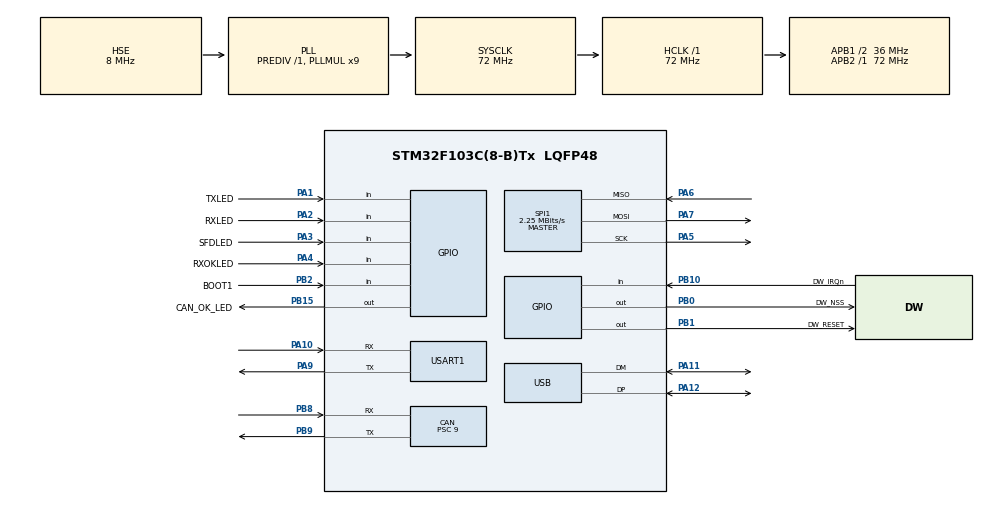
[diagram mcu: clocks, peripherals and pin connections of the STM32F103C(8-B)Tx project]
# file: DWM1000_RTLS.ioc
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CAN.BS1=CAN_BS1_2TQ
CAN.CalculateTimeBit=1000
CAN.CalculateTimeQuantum=250.0
CAN.Prescaler=9
Mcu.Family=STM32F1
Mcu.Name=STM32F103C(8-B)Tx
Mcu.Package=LQFP48
NVIC.PriorityGroup=NVIC_PRIORITYGROUP_4
PA1.GPIO_Label=TXLED
PA1.Signal=GPIO_Input
PA10.Mode=Asynchronous
PA10.Signal=USART1_RX
PA11.Mode=Device
PA11.Signal=USB_DM
PA12.Mode=Device
PA12.Signal=USB_DP
PA13.Mode=Serial_Wire
PA13.Signal=SYS_JTMS-SWDIO
PA14.Mode=Serial_Wire
PA14.Signal=SYS_JTCK-SWCLK
PA2.GPIO_Label=RXLED
PA2.Signal=GPIO_Input
PA3.GPIO_Label=SFDLED
PA3.Signal=GPIO_Input
PA4.GPIO_Label=RXOKLED
PA4.Signal=GPIO_Input
PA5.Mode=Full_Duplex_Master
PA5.Signal=SPI1_SCK
PA6.Mode=Full_Duplex_Master
PA6.Signal=SPI1_MISO
PA7.Mode=Full_Duplex_Master
PA7.Signal=SPI1_MOSI
PA9.Mode=Asynchronous
PA9.Signal=USART1_TX
PB0.GPIO_Label=DW_NSS
PB0.PinState=GPIO_PIN_SET
PB0.Signal=GPIO_Output
PB1.GPIO_Label=DW_RESET
PB1.GPIO_ModeDefaultOutputPP=GPIO_MODE_OUTPUT_OD
PB1.Signal=GPIO_Output
PB10.GPIO_Label=DW_IRQn
PB10.Signal=GPIO_Input
PB15.GPIO_Label=CAN_OK_LED
PB15.Signal=GPIO_Output
PB2.GPIO_Label=BOOT1
PB2.Signal=GPIO_Input
PB8.Mode=Master
PB8.Signal=CAN_RX
PB9.Mode=Master
PB9.Signal=CAN_TX
PC14-OSC32_IN.Mode=LSE-External-Oscillator
PC14-OSC32_IN.Signal=RCC_OSC32_IN
PC15-OSC32_OUT.Mode=LSE-External-Oscillator
PC15-OSC32_OUT.Signal=RCC_OSC32_OUT
PD0-OSC_IN.Mode=HSE-External-Oscillator
PD0-OSC_IN.Signal=RCC_OSC_IN
PD1-OSC_OUT.Mode=HSE-External-Oscillator
PD1-OSC_OUT.Signal=RCC_OSC_OUT
ProjectManager.HeapSize=0x200
ProjectManager.StackSize=0x400
ProjectManager.TargetToolchain=STM32CubeIDE
RCC.AHBFreq_Value=72000000
RCC.APB1CLKDivider=RCC_HCLK_DIV2
RCC.APB1Freq_Value=36000000
RCC.APB1TimFreq_Value=72000000
RCC.APB2Freq_Value=72000000
RCC.APB2TimFreq_Value=72000000
RCC.HCLKFreq_Value=72000000
RCC.PLLMUL=RCC_PLL_MUL9
RCC.PLLSourceVirtual=RCC_PLLSOURCE_HSE
RCC.SYSCLKFreq_VALUE=72000000
RCC.SYSCLKSource=RCC_SYSCLKSOURCE_PLLCLK
RCC.USBFreq_Value=48000000
RCC.USBPrescaler=RCC_USBCLKSOURCE_PLL_DIV1_5
SPI1.BaudRatePrescaler=SPI_BAUDRATEPRESCALER_32
SPI1.CalculateBaudRate=2.25 MBits/s
SPI1.Direction=SPI_DIRECTION_2LINES
SPI1.Mode=SPI_MODE_MASTER
SPI1.VirtualType=VM_MASTER
USART1.VirtualMode=VM_ASYNC
board=custom

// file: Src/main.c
/* USER CODE BEGIN Header */
/**
  ******************************************************************************
  * @file           : main.c
  * @brief          : Main program body
  ******************************************************************************
  * @attention
  *
  * <h2><center>&copy; Copyright (c) 2019 STMicroelectronics.
  * All rights reserved.</center></h2>
  *
  * This software component is licensed by ST under BSD 3-Clause license,
  * the "License"; You may not use this file except in compliance with the
  * License. You may obtain a copy of the License at:
  *                        opensource.org/licenses/BSD-3-Clause
  *
  ******************************************************************************
  */
/* USER CODE END Header */

#include "main.h"

/* USER CODE BEGIN PD */
#define TX_BUFFER_SIZE 		1024

/* Index to access to sequence number of the blink frame in the tx_msg array. */
#define BLINK_FRAME_SN_IDX 	1

/* Inter-frame delay period, in milliseconds. */
#define TX_DELAY_MS 		1000

#define FRAME_LEN_MAX 		127

#define NUMBER_OF_ANCHORS 	3

#define DELAY_BEFORE_TX 	0

#define SAMPLES_PER_POINT 	2
/* Change to match the device you're programming */
#define XTAL_TRIM 			15

/* Change to match which device you're programming */
#define TX_ANT_DLY 			16442
#define RX_ANT_DLY 			16442

/* weights for our confidence calculation */
#define K1 					100.0
#define K2 					1.0

/* CAN ID, change to desired value if flashing for the first time */
#define SELF_CAN_ID 		0x01

#ifdef ANCHOR
/* ID of this device, change to desired value if flashing for the first time */
#define SELF_ID 			0x11
#endif

#ifdef BEACON
/* ID of this device will be the CAN bus id, because why not */
#define SELF_ID 			SELF_CAN_ID
#endif
/* USER CODE END PD */

CAN_HandleTypeDef hcan;

SPI_HandleTypeDef hspi1;

UART_HandleTypeDef huart1;

PCD_HandleTypeDef hpcd_USB_FS;

/* USER CODE BEGIN PV */
static dwt_config_t config = {
    2,               /* Channel number. */
    DWT_PRF_64M,     /* Pulse repetition frequency. */
    DWT_PLEN_128,   /* Preamble length. Used in TX only. */
    DWT_PAC8,       /* Preamble acquisition chunk size. Used in RX only. */
    9,               /* TX preamble code. Used in TX only. */
    9,               /* RX preamble code. Used in RX only. */
    0,               /* 0 to use standard SFD, 1 to use non-standard SFD. */
    DWT_BR_6M8,      /* Data rate. */
    DWT_PHRMODE_STD, /* PHY header mode. */
    (1025 + 64)    	 /* SFD timeout (preamble length + 1 + SFD length - PAC size). Used in RX only. */
};

DistanceFrame anchors[NUMBER_OF_ANCHORS];

//uint8_t tx_msg[] = {0xC5, 0, 'D', 'E', 'C', 'A', 'W', 'A', 'V', 'E', 0, 0};

int size = 0;
uint8_t uart_buf[1024] = {};
HAL_StatusTypeDef UART_status;
HAL_StatusTypeDef CAN_status;

RangingStatus 	ranging_status;
dwt_rxdiag_t 	rx_diagnostics;
double 			rx_power;
double 			fp_power;
double 			snr;
_Bool 			CAN_Rx_OK 					= 0; //
_Bool 			do_ranging 					= 0;
_Bool 			dwm1000_setup_success 		= 0;
AnchorTimeStamps anchor_stamps;
BeaconTimeStamps beacon_stamps;
uint8 			sequence_num 				= 0;
unsigned long long t_sp, t_rr, t_sf, t_rp, t_sr, t_rf;
///* Buffer to store received frame. See NOTE 1 below. */
static uint8 tx_buffer[FRAME_LEN_MAX];
static uint8 rx_buffer[FRAME_LEN_MAX];
static uint8 uCurrentTrim_val;

#ifdef ANCHOR
uint16 src_address;
uint16 src_panid;
#endif

/* USER CODE END PV */

void SystemClock_Config(void);
static void MX_GPIO_Init(void);
static void MX_CAN_Init(void);
static void MX_SPI1_Init(void);
static void MX_USART1_UART_Init(void);
static void MX_USB_PCD_Init(void);

int main(void)
{

  /* MCU Configuration--------------------------------------------------------*/

  /* Reset of all peripherals, Initializes the Flash interface and the Systick. */
  HAL_Init();

  /* Configure the system clock */
  SystemClock_Config();

  /* Initialize all configured peripherals */
  MX_GPIO_Init();
  MX_CAN_Init();
  MX_SPI1_Init();
  MX_USART1_UART_Init();
  MX_USB_PCD_Init();
  /* USER CODE BEGIN 2 */

#ifdef BEACON
    /* Enable CAN interrupt */
//    HAL_CAN_ActivateNotification(&hcan, CAN_IT_RX_FIFO0_MSG_PENDING);
    CAN_FilterTypeDef  can_filter;
    can_filter.FilterFIFOAssignment = CAN_RX_FIFO0;
    can_filter.FilterMode = CAN_FILTERMODE_IDMASK;
    can_filter.FilterScale = CAN_FILTERSCALE_32BIT;
    can_filter.FilterIdHigh = 0x0000;
    can_filter.FilterIdLow = 0x0000;
    can_filter.FilterMaskIdHigh = 0x0000;
    can_filter.FilterMaskIdLow = 0x0000;
    can_filter.FilterBank = 0;
    can_filter.FilterActivation = CAN_FILTER_ENABLE;

    HAL_CAN_ConfigFilter(&hcan, &can_filter);
    /* Start the CAN Module */
    HAL_CAN_Start(&hcan);

    /* Setup anchor ID's, our system has 3 */
    anchors[0].anchor_id = 0x11;
    anchors[1].anchor_id = 0x22;
    anchors[2].anchor_id = 0x33;

#endif

	/* Reset and initialise DW1000. See NOTE 2 below.
  	 * For initialisation, DW1000 clocks must be temporarily set to crystal speed. After initialisation SPI rate can be increased for optimum
  	 * performance. */
  	reset_DW1000(); /* Target specific drive of RSTn line into DW1000 low for a period. */
  	port_set_dw1000_slowrate();
  	if (dwt_initialise(DWT_LOADUCODE) == DWT_ERROR)
  	{

  		debug(&huart1, "INIT FAILED :(\r");
  		while (1)
  		{ };
  	}else{
  		debug(&huart1, "INIT SUCCESS!!\r");
  	}
  	port_set_dw1000_fastrate();

  	/* Configure DW1000. See NOTE 3 below. */
  	dwt_configure(&config);

    dwt_setrxantennadelay(RX_ANT_DLY);
    dwt_settxantennadelay(TX_ANT_DLY);

    /* EEPROM stuff */
    HAL_FLASH_Unlock();
    uint32_t eeprom_data;
    EE_Read(0, &eeprom_data);
    if (eeprom_data == EEPROM_FLAG){
    	// read from "EEPROM"
    	EE_Read(1, &eeprom_data);
    	self_pan_id = eeprom_data;
    	EE_Read(2, &eeprom_data);
    	self_address = eeprom_data;
    	debug(&huart1, "Read from emulated EEPROM\r");
    }else{
    	/* set parameters to the programmed value and write them to "EEPROM" */
    	self_pan_id 	= SELF_ID;
    	self_address 	= SELF_ID;
        EE_Format();
        EE_Write(0, EEPROM_FLAG);
        EE_Write(1, (uint32_t) self_pan_id);
        EE_Write(2, (uint32_t) self_address);
    	debug(&huart1, "Wrote to emulated EEPROM\r");
    }
    HAL_FLASH_Lock();

    uCurrentTrim_val= dwt_getinitxtaltrim();

    size = sprintf((char*)uart_buf, "XTAL trim:\t%d\r\nPAN ID:\t%d\r\nADDR:\t%d\r\n", uCurrentTrim_val, self_pan_id, self_address);
  	UART_status = HAL_UART_Transmit(&huart1, uart_buf, size, 500);

    /* Frame Filtering stuff */
    dwt_setpanid(self_pan_id);
    dwt_setaddress16(self_address);	// why not just have ADDRESS == PAN_ID ?

    dwt_enableframefilter(DWT_FF_DATA_EN); // permit DATA frame types
  /* USER CODE END 2 */

  /* Infinite loop */
  	while (1)
  	{

    /* USER CODE BEGIN 3 */
#ifdef BEACON
  		uint32_t can_frame_available = HAL_CAN_GetRxFifoFillLevel(&hcan, CAN_RX_FIFO0);

  		if(can_frame_available > 0){
//  			debug(&huart1, "CAN Frame received\r");
  			CAN_RxHeaderTypeDef hddr;
  			uint8_t data[8];
  			CAN_status = HAL_CAN_GetRxMessage(&hcan, CAN_RX_FIFO0, &hddr, data);

  			if(CAN_status == HAL_OK && hddr.RTR == CAN_RTR_REMOTE && hddr.StdId == SELF_CAN_ID){
  				do_ranging = 1;
  				debug(&huart1, "do_ranging = 1\r");
  			}

  		}

//  		do_ranging = 1;

  		if(do_ranging){
  			HAL_GPIO_WritePin(GPIOB, CAN_OK_LED_Pin, GPIO_PIN_SET);

  			for (int i = 0; i < NUMBER_OF_ANCHORS; i++){
  				DistanceFrame* anchor = &(anchors[i]);
  				int64_t tofs[SAMPLES_PER_POINT];
  				_Bool ranging_ok = 1;

  				// attempt to gather SAMPLES_PER_POINT many samples
  				int samples;
  				for(samples = 0; samples < SAMPLES_PER_POINT; samples++){
  					ranging_status = range_with_anchor(anchor->anchor_id, &anchor_stamps, &beacon_stamps, &sequence_num);
  					if(ranging_status != RANGING_SUCCESS){
  						ranging_ok = 0;
  						break;
  					}
  					tofs[samples] = get_tof(&anchor_stamps, &beacon_stamps);
  					HAL_Delay(10);
  				}
  				// as long as we have at least 1 sample, transmit this point
  				if(ranging_ok){
  	  				dwt_readdiagnostics(&rx_diagnostics); 	// read diagnostics of the last frame
  	  				rx_power = get_rx_power(&rx_diagnostics);
  	  				fp_power = get_fp_power(&rx_diagnostics);
  	  				snr 	 = get_fp_snr(&rx_diagnostics);
  	  				anchor->confidence = get_confidence(rx_power, fp_power, snr);

  					int64_t sum = 0;
  					for(int i = 0; i < samples; i++){
  						sum += tofs[i];
  					}
  					int tof 	= (int)(sum / samples);

  					float dist 	= 299792458.0 * (1.0*tof / (128.0*499200000.0));

  					size = sprintf((char*)uart_buf, "Anchor %x,\t", anchor->anchor_id);
  					UART_status = HAL_UART_Transmit(&huart1, uart_buf, size, 500);

  					size = sprintf((char*)uart_buf, "ToF Counts: %d\t", tof);
  					UART_status = HAL_UART_Transmit(&huart1, uart_buf, size, 500);

  					int dist_mm = (int)1000.0*dist;
  					size = sprintf((char*)uart_buf, "DISTANCE (mm): %d\t", dist_mm);
  					UART_status = HAL_UART_Transmit(&huart1, uart_buf, size, 500);

  					size = sprintf((char*)uart_buf, "Confidence: %d\r\n", anchor->confidence);
  					UART_status = HAL_UART_Transmit(&huart1, uart_buf, size, 500);

  					anchor->type = DISTANCE_FRAME_TYPE;
  					anchor->distance = dist;

  					_Bool can_success = send_CAN_update(&hcan, anchor);
  					if(can_success){
//  						debug(&huart1, "CAN Tx SUCCEEDED\r");
  					}else{
//  						debug(&huart1, "CAN Tx FAILED :(\r");
  					}

  				}else{
  					debug(&huart1, "RANGING FAILED :(\r");
  					anchor->type = DISTANCE_FRAME_TYPE;
  					anchor->distance = -1.0;
  					_Bool can_success = send_CAN_update(&hcan, anchor);
  		  			HAL_Delay(250);
  				}
  			}
  			do_ranging = 0;
  			HAL_GPIO_WritePin(GPIOB, CAN_OK_LED_Pin, GPIO_PIN_RESET);
  		}

  		/* Execute a delay between transmissions. */
//  		HAL_Delay(TX_DELAY_MS);

#endif // BEACON

#ifdef ANCHOR

  		 int rcv_len = receive_frame(rx_buffer, FRAME_LEN_MAX, 500);
  		 if(rcv_len > 0){
  			 HAL_GPIO_WritePin(GPIOB, CAN_OK_LED_Pin, GPIO_PIN_SET);
  			 switch(rx_buffer[MAC_SIZE_EXPECTED]){
  			 case POLL:{
  				 anchor_stamps.t_rp = get_rx_timestamp();

  				 src_address 	= get_src_addr(rx_buffer);
  				 src_panid 		= get_src_panid(rx_buffer);
  				 sequence_num 	= get_seq_number(rx_buffer);
  				 uint8 data_len = make_mac_header(tx_buffer, src_address, src_panid, ++sequence_num);
  				 tx_buffer[data_len++] = RESPONSE_INIT;
  				 HAL_Delay(DELAY_BEFORE_TX);
  				 transmit_frame(tx_buffer, data_len + 2, 1); // +2 to account for checksum

  				 anchor_stamps.t_sr = get_tx_timestamp();
  				 //  					 dwt_rxreset();
  				 break;}
  			 case SEND_FINAL:{
  				 anchor_stamps.t_rf = get_rx_timestamp();

  				 uint16 new_src_addr 	= get_src_addr(rx_buffer);
  				 uint16 new_src_panid 	= get_src_panid(rx_buffer);
  				 uint8 new_seq_num 		= get_seq_number(rx_buffer);
  				 if(new_src_addr == src_address && new_src_panid == src_panid){
  					 sequence_num = new_seq_num;
  					 uint8 data_len = make_mac_header(tx_buffer, src_address, src_panid, ++sequence_num);
  					 tx_buffer[data_len++] = RESPONSE_DATA;
  					 memcpy(tx_buffer+data_len, &anchor_stamps, sizeof(anchor_stamps));

  	  				 HAL_Delay(DELAY_BEFORE_TX);
  	  				 transmit_frame(tx_buffer, data_len + sizeof(anchor_stamps) + 2, 1);
  	  				 anchor_stamps.t_rp = 0;
  	  				 anchor_stamps.t_sr = 0;
  	  				 anchor_stamps.t_rf = 0;
  				 }else{
  					 debug(&huart1, "Received from unexpected source\r");
  				 }

  				 break;}
  			 default:{
  				 debug(&huart1, "Unrecognized type received\r");
  			 	 break;}
  			 }
  			 HAL_GPIO_WritePin(GPIOB, CAN_OK_LED_Pin, GPIO_PIN_RESET);
  		 }else{
  			 debug(&huart1, "Timed out\r");
  		 }

#endif // ANCHOR

  	}
  /* USER CODE END 3 */
}

void SystemClock_Config(void)
{
  RCC_OscInitTypeDef RCC_OscInitStruct = {0};
  RCC_ClkInitTypeDef RCC_ClkInitStruct = {0};
  RCC_PeriphCLKInitTypeDef PeriphClkInit = {0};

  /** Initializes the CPU, AHB and APB busses clocks
  */
  RCC_OscInitStruct.OscillatorType = RCC_OSCILLATORTYPE_HSE;
  RCC_OscInitStruct.HSEState = RCC_HSE_ON;
  RCC_OscInitStruct.HSEPredivValue = RCC_HSE_PREDIV_DIV1;
  RCC_OscInitStruct.HSIState = RCC_HSI_ON;
  RCC_OscInitStruct.PLL.PLLState = RCC_PLL_ON;
  RCC_OscInitStruct.PLL.PLLSource = RCC_PLLSOURCE_HSE;
  RCC_OscInitStruct.PLL.PLLMUL = RCC_PLL_MUL9;
  if (HAL_RCC_OscConfig(&RCC_OscInitStruct) != HAL_OK)
  {
    Error_Handler();
  }
  /** Initializes the CPU, AHB and APB busses clocks
  */
  RCC_ClkInitStruct.ClockType = RCC_CLOCKTYPE_HCLK|RCC_CLOCKTYPE_SYSCLK
                              |RCC_CLOCKTYPE_PCLK1|RCC_CLOCKTYPE_PCLK2;
  RCC_ClkInitStruct.SYSCLKSource = RCC_SYSCLKSOURCE_PLLCLK;
  RCC_ClkInitStruct.AHBCLKDivider = RCC_SYSCLK_DIV1;
  RCC_ClkInitStruct.APB1CLKDivider = RCC_HCLK_DIV2;
  RCC_ClkInitStruct.APB2CLKDivider = RCC_HCLK_DIV1;

  if (HAL_RCC_ClockConfig(&RCC_ClkInitStruct, FLASH_LATENCY_2) != HAL_OK)
  {
    Error_Handler();
  }
  PeriphClkInit.PeriphClockSelection = RCC_PERIPHCLK_USB;
  PeriphClkInit.UsbClockSelection = RCC_USBCLKSOURCE_PLL_DIV1_5;
  if (HAL_RCCEx_PeriphCLKConfig(&PeriphClkInit) != HAL_OK)
  {
    Error_Handler();
  }
}

static void MX_CAN_Init(void)
{

  hcan.Instance = CAN1;
  hcan.Init.Prescaler = 9;
  hcan.Init.Mode = CAN_MODE_NORMAL;
  hcan.Init.SyncJumpWidth = CAN_SJW_1TQ;
  hcan.Init.TimeSeg1 = CAN_BS1_2TQ;
  hcan.Init.TimeSeg2 = CAN_BS2_1TQ;
  hcan.Init.TimeTriggeredMode = DISABLE;
  hcan.Init.AutoBusOff = DISABLE;
  hcan.Init.AutoWakeUp = DISABLE;
  hcan.Init.AutoRetransmission = DISABLE;
  hcan.Init.ReceiveFifoLocked = DISABLE;
  hcan.Init.TransmitFifoPriority = DISABLE;
  if (HAL_CAN_Init(&hcan) != HAL_OK)
  {
    Error_Handler();
  }

}

static void MX_SPI1_Init(void)
{

  /* SPI1 parameter configuration*/
  hspi1.Instance = SPI1;
  hspi1.Init.Mode = SPI_MODE_MASTER;
  hspi1.Init.Direction = SPI_DIRECTION_2LINES;
  hspi1.Init.DataSize = SPI_DATASIZE_8BIT;
  hspi1.Init.CLKPolarity = SPI_POLARITY_LOW;
  hspi1.Init.CLKPhase = SPI_PHASE_1EDGE;
  hspi1.Init.NSS = SPI_NSS_SOFT;
  hspi1.Init.BaudRatePrescaler = SPI_BAUDRATEPRESCALER_32;
  hspi1.Init.FirstBit = SPI_FIRSTBIT_MSB;
  hspi1.Init.TIMode = SPI_TIMODE_DISABLE;
  hspi1.Init.CRCCalculation = SPI_CRCCALCULATION_DISABLE;
  hspi1.Init.CRCPolynomial = 10;
  if (HAL_SPI_Init(&hspi1) != HAL_OK)
  {
    Error_Handler();
  }

}

static void MX_USART1_UART_Init(void)
{

  huart1.Instance = USART1;
  huart1.Init.BaudRate = 115200;
  huart1.Init.WordLength = UART_WORDLENGTH_8B;
  huart1.Init.StopBits = UART_STOPBITS_1;
  huart1.Init.Parity = UART_PARITY_NONE;
  huart1.Init.Mode = UART_MODE_TX_RX;
  huart1.Init.HwFlowCtl = UART_HWCONTROL_NONE;
  huart1.Init.OverSampling = UART_OVERSAMPLING_16;
  if (HAL_UART_Init(&huart1) != HAL_OK)
  {
    Error_Handler();
  }

}

static void MX_USB_PCD_Init(void)
{

  hpcd_USB_FS.Instance = USB;
  hpcd_USB_FS.Init.dev_endpoints = 8;
  hpcd_USB_FS.Init.speed = PCD_SPEED_FULL;
  hpcd_USB_FS.Init.low_power_enable = DISABLE;
  hpcd_USB_FS.Init.lpm_enable = DISABLE;
  hpcd_USB_FS.Init.battery_charging_enable = DISABLE;
  if (HAL_PCD_Init(&hpcd_USB_FS) != HAL_OK)
  {
    Error_Handler();
  }

}

static void MX_GPIO_Init(void)
{
  GPIO_InitTypeDef GPIO_InitStruct = {0};

  /* GPIO Ports Clock Enable */
  __HAL_RCC_GPIOC_CLK_ENABLE();
  __HAL_RCC_GPIOD_CLK_ENABLE();
  __HAL_RCC_GPIOA_CLK_ENABLE();
  __HAL_RCC_GPIOB_CLK_ENABLE();

  /*Configure GPIO pin Output Level */
  HAL_GPIO_WritePin(DW_NSS_GPIO_Port, DW_NSS_Pin, GPIO_PIN_SET);

  /*Configure GPIO pin Output Level */
  HAL_GPIO_WritePin(GPIOB, DW_RESET_Pin|CAN_OK_LED_Pin, GPIO_PIN_RESET);

  /*Configure GPIO pins : TXLED_Pin RXLED_Pin SFDLED_Pin RXOKLED_Pin */
  GPIO_InitStruct.Pin = TXLED_Pin|RXLED_Pin|SFDLED_Pin|RXOKLED_Pin;
  GPIO_InitStruct.Mode = GPIO_MODE_INPUT;
  GPIO_InitStruct.Pull = GPIO_NOPULL;
  HAL_GPIO_Init(GPIOA, &GPIO_InitStruct);

  /*Configure GPIO pins : DW_NSS_Pin CAN_OK_LED_Pin */
  GPIO_InitStruct.Pin = DW_NSS_Pin|CAN_OK_LED_Pin;
  GPIO_InitStruct.Mode = GPIO_MODE_OUTPUT_PP;
  GPIO_InitStruct.Pull = GPIO_NOPULL;
  GPIO_InitStruct.Speed = GPIO_SPEED_FREQ_LOW;
  HAL_GPIO_Init(GPIOB, &GPIO_InitStruct);

  /*Configure GPIO pin : DW_RESET_Pin */
  GPIO_InitStruct.Pin = DW_RESET_Pin;
  GPIO_InitStruct.Mode = GPIO_MODE_OUTPUT_OD;
  GPIO_InitStruct.Pull = GPIO_NOPULL;
  GPIO_InitStruct.Speed = GPIO_SPEED_FREQ_LOW;
  HAL_GPIO_Init(DW_RESET_GPIO_Port, &GPIO_InitStruct);

  /*Configure GPIO pins : BOOT1_Pin DW_IRQn_Pin */
  GPIO_InitStruct.Pin = BOOT1_Pin|DW_IRQn_Pin;
  GPIO_InitStruct.Mode = GPIO_MODE_INPUT;
  GPIO_InitStruct.Pull = GPIO_NOPULL;
  HAL_GPIO_Init(GPIOB, &GPIO_InitStruct);

}

/* USER CODE BEGIN 4 */
void debug(UART_HandleTypeDef* huart, char* text){
	char c;
	int len = 0;
	while(c != '\r'){
		c = text[len++];
	}
	HAL_UART_Transmit(huart, (uint8_t*)text, len, 500);
	char newline[] = {'\n'};
	HAL_UART_Transmit(huart, newline, 1, 500);
}

RangingStatus range_with_anchor(uint8_t anchor_id, AnchorTimeStamps* a_stamps, BeaconTimeStamps* b_stamps, uint8* seq_num){
	uint8 tx_buf[FRAME_LEN_MAX];
	uint8 rx_buf[FRAME_LEN_MAX];
	uint8 data_len;
	uint16 new_src_addr;
	uint16 new_src_panid;
	uint16 new_seq_num;
	TxStatus tx_status;
	int rcv_len = -1;

	// ----- SEND POLL -----
	data_len = make_mac_header(tx_buf, anchor_id, anchor_id, *seq_num);
	tx_buf[data_len++] = POLL;
	HAL_Delay(DELAY_BEFORE_TX);

	tx_status = transmit_frame(tx_buf, data_len + 2, 1); 	// data_len + 2 to account for checksum

	if(!(tx_status == TX_SUCCESS)){
		return SEND_POLL_FAILED;
	}
	b_stamps->t_sp = get_tx_timestamp();

	// ----- RECEIVE RESPONSE -----
	rcv_len = receive_frame(rx_buf, FRAME_LEN_MAX, 1000);
	if(rcv_len <= 0){
		debug(&huart1, "No frame received\r");
		return RECEIVE_RESPONSE_FAILED;
	}
	new_src_addr 	= get_src_addr(rx_buf);
	new_src_panid 	= get_src_panid(rx_buf);
	new_seq_num 	= get_seq_number(rx_buf);
	if(new_src_addr != anchor_id || new_src_panid != anchor_id){
		debug(&huart1, "Received from unexpected source\r");
		return RECEIVE_RESPONSE_FAILED;
	}
	if(rx_buf[MAC_SIZE_EXPECTED] != RESPONSE_INIT){
		debug(&huart1, "Frame didn't contain the right numbers\r");
		return RECEIVE_RESPONSE_FAILED;
	}

	*seq_num = get_seq_number(rx_buf);
	b_stamps->t_rr = get_rx_timestamp();

	// ----- SEND FINAL -----
	data_len = make_mac_header(tx_buf, anchor_id, anchor_id, ++(*seq_num));
	tx_buf[data_len++] = SEND_FINAL;
	HAL_Delay(DELAY_BEFORE_TX);

	tx_status = transmit_frame(tx_buf, data_len + 2, 1);

	if(!(tx_status == TX_SUCCESS)){
			return SEND_FINAL_FAILED;
	}

	b_stamps->t_sf = get_tx_timestamp();

	// ----- RECEIVE TIMESTAMPS -----
	rcv_len = receive_frame(rx_buf, FRAME_LEN_MAX, 1000);
	if(rcv_len <= 0){
		debug(&huart1, "No timestamps frame received\r");
		return RECEIVE_TIMESTAMPS_FAILED;
	}
	new_src_addr 	= get_src_addr(rx_buf);
	new_src_panid 	= get_src_panid(rx_buf);
	new_seq_num 	= get_seq_number(rx_buf);
	if(new_src_addr != anchor_id || new_src_panid != anchor_id){
		debug(&huart1, "Received timestamps from unexpected source\r");
		return RECEIVE_TIMESTAMPS_FAILED;
	}
	*seq_num = get_seq_number(rx_buf);
	b_stamps->t_ff = get_rx_timestamp();
	if(rx_buf[MAC_SIZE_EXPECTED] != RESPONSE_DATA){
		debug(&huart1, "Timestamps frame didn't contain the right numbers\r");
		return RECEIVE_TIMESTAMPS_FAILED;
	}
	memcpy(a_stamps, rx_buf+MAC_SIZE_EXPECTED+1, sizeof(*a_stamps));

	return RANGING_SUCCESS;
}

int64_t get_tof(AnchorTimeStamps* a_stamps, BeaconTimeStamps* b_stamps){
//	int round1 	= (b_stamps->t_rr - b_stamps->t_sp);
//	int reply1 	= (a_stamps->t_sr - a_stamps->t_rp);
//	int round2 	= (a_stamps->t_rf - a_stamps->t_sr);
//	int reply2 	= (b_stamps->t_sf - b_stamps->t_rr);
//
//	int tof 	= ((round1 - reply1) + (round2 - reply2)) / 4;
//	return tof;
	double round1 	= (double)((uint32)b_stamps->t_rr - (uint32)b_stamps->t_sp);
	double reply1 	= (double)((uint32)a_stamps->t_sr - (uint32)a_stamps->t_rp);
	double round2 	= (double)((uint32)a_stamps->t_rf - (uint32)a_stamps->t_sr);
	double reply2 	= (double)((uint32)b_stamps->t_sf - (uint32)b_stamps->t_rr);

	int64_t tof 		= (int64_t)( round1*round2 - reply1*reply2 )/(round1+round2+reply1+reply2);
	return tof;
}

int receive_frame(uint8* buffer, int max_len, int timeout){
	/* Hold copy of status register state here for reference so that it can be examined at a debug breakpoint. */
	uint32 status_reg = 0;

	/* Hold copy of frame length of frame received (if good) so that it can be examined at a debug breakpoint. */
	uint16 frame_len = 0;

	int count = 0;
	timeout = timeout * 20; // convert milliseconds to 50's of uSeconds

	dwt_rxenable(DWT_START_RX_IMMEDIATE); /* Activate reception immediately. See NOTE 3 below. */

	/* Poll until a frame is properly received or an error/timeout occurs. See NOTE 4 below.
	 * STATUS register is 5 bytes long but, as the event we are looking at is in the first byte of the register, we can use this simplest API
	 * function to access it. */
	while (!((status_reg = dwt_read32bitreg(SYS_STATUS_ID)) & (SYS_STATUS_RXFCG | SYS_STATUS_ALL_RX_ERR)) && !(count >= timeout))
	{
//		HAL_Delay(1);
		u_delay(50);
		count++;
	};

	if (status_reg & SYS_STATUS_RXFCG)
	{
		/* A frame has been received, copy it to our local buffer. */
		frame_len = dwt_read32bitreg(RX_FINFO_ID) & RX_FINFO_RXFL_MASK_1023;
		if (frame_len <= max_len)
		{
			dwt_readrxdata(buffer, frame_len, 0);
		}

		/* Clear good RX frame event in the DW1000 status register. */
		dwt_write32bitreg(SYS_STATUS_ID, SYS_STATUS_RXFCG);

		return frame_len;
	}
	else if(count >= timeout)
	{
		dwt_forcetrxoff(); // guarantee that the receiver is off
		return -1;
	}else{
		/* Clear RX error events in the DW1000 status register. */
		dwt_write32bitreg(SYS_STATUS_ID, SYS_STATUS_ALL_RX_ERR);

		/* Reset RX to properly reinitialise LDE operation. */
		dwt_rxreset();
		return -1;
	}
}

TxStatus transmit_frame(uint8* frame, int f_len, _Bool ranging){
	/* Write frame data to DW1000 and prepare transmission. See NOTE 4 below.*/
	dwt_writetxdata(f_len, frame, 0); 			/* Zero offset in TX buffer. */
	dwt_writetxfctrl(f_len, 0, ranging); 		/* Zero offset in TX buffer */
	dwt_starttx(DWT_START_TX_IMMEDIATE); 	// Start transmission

	/* Poll DW1000 until TX frame sent event set.
	 * STATUS register is 5 bytes long but, as the event we are looking at is in the first byte of the register, we can use this simplest API
	 * function to access it.*/
	while (!(dwt_read32bitreg(SYS_STATUS_ID) & SYS_STATUS_TXFRS)){ };
	dwt_write32bitreg(SYS_STATUS_ID, SYS_STATUS_TXFRS); /* Clear TX frame sent event. */

	return TX_SUCCESS;
}

unsigned long long get_tx_timestamp(void){
	uint8 data[5];
	dwt_readtxtimestamp(data);
	unsigned long long retval;

    for (int i = 4; i >= 0; i--)
    {
    	retval <<= 8;
    	retval |= data[i];
    }
    return retval;
}

unsigned long long get_rx_timestamp(void){
	uint8 data[5];
	dwt_readrxtimestamp(data);
	unsigned long long retval;

    for (int i = 4; i >= 0; i--)
    {
    	retval <<= 8;
    	retval |= data[i];
    }
    return retval;
}

double get_fp_power(dwt_rxdiag_t* diagnostics){
	double F1 = 1.0 * diagnostics->firstPathAmp1;
	double F2 = 1.0 * diagnostics->firstPathAmp2;
	double F3 = 1.0 * diagnostics->firstPathAmp3;
	double A  = 121.74; // for PRF of 64 MHz (see pg. 45 of DW1000 user manual)
	double N  = 1.0 * diagnostics->rxPreamCount;

	double retval = ( pow(F1, 2.0) + pow(F2, 2.0) + pow(F3, 2.0) ) / pow(N, 2.0);
	return 10.0 * log10(retval) - A;
}
double get_rx_power(dwt_rxdiag_t* diagnostics){
	double C = 1.0 * diagnostics->maxGrowthCIR;
	double A  = 121.74; // for PRF of 64 MHz (see pg. 45 of DW1000 user manual)
	double N  = 1.0 * diagnostics->rxPreamCount;

	return 10.0 * log10( (C * pow(2.0, 17.0))/ pow(N, 2.0)) - A;
}
double get_fp_snr(dwt_rxdiag_t* diagnostics){
	return (double)(1.0 * diagnostics->firstPathAmp2) / (1.0 * diagnostics->stdNoise);
}

int16 get_confidence(double rx_pwr, double fp_pwr, double SNR){
	double conf = K1*(6 - rx_pwr + fp_pwr) + K2*SNR;
	return (int16) conf;
}

_Bool send_CAN_update(CAN_HandleTypeDef *hcan, DistanceFrame* frame){
	CAN_TxHeaderTypeDef hddr;
	HAL_StatusTypeDef retval;
	uint32_t mailbox;
	uint8_t data[8];

	hddr.StdId 	= SELF_CAN_ID;
	hddr.IDE 	= CAN_ID_STD;
	hddr.RTR 	= CAN_RTR_DATA;
	hddr.DLC 	= 8;
	data[0] = frame->type;
	data[1] = frame->anchor_id;
	memcpy(data+2, &(frame->distance), 4);
	memcpy(data+6, &(frame->confidence), 2);

	retval = HAL_CAN_AddTxMessage(hcan, &hddr, data, &mailbox);

	return retval == HAL_OK;
}

void u_delay(int usec){
	__NOP();
	__NOP();
	__NOP();
	__NOP();
	__NOP();
	__NOP();
	__NOP();
	__NOP();
	__NOP();
	__NOP();
	__NOP();
	__NOP();
	__NOP();
	__NOP();
	__NOP();
	__NOP();
	__NOP();
	__NOP();
	__NOP();
	__NOP();
	__NOP();
	__NOP();
	__NOP();
	__NOP();
	__NOP();
	__NOP();
	__NOP();
	__NOP();
	__NOP();
	__NOP();
	__NOP();
	__NOP();
	__NOP();
	__NOP();
	__NOP();
	__NOP();
	__NOP();
	__NOP();
	__NOP();
	__NOP();
	__NOP();
	__NOP();
	__NOP();
	__NOP();
	__NOP();
	__NOP();
	__NOP();
	__NOP();
	__NOP();
	__NOP();
	__NOP();
	__NOP();
	__NOP();
	__NOP();
	__NOP();
	__NOP();
	__NOP();
	__NOP();
	__NOP();
	__NOP();
	__NOP();
	__NOP();
	__NOP();
	__NOP();
	__NOP();
	__NOP();
	__NOP();
	__NOP();
	__NOP();
	__NOP();
	__NOP();
	__NOP();
}

/* USER CODE END 4 */

void Error_Handler(void)
{
}

/************************ (C) COPYRIGHT STMicroelectronics *****END OF FILE****/
